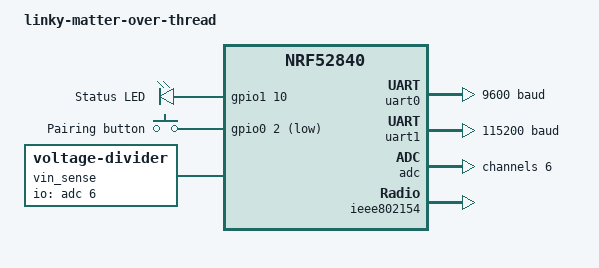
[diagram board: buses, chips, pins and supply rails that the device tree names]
/*
 * SPDX-License-Identifier: Apache-2.0
 *
 * linky-matter-over-thread v1: Ebyte E73-2G4M08S1C (nRF52840) powered by the Linky TIC.
 * Pin assignment matches hardware/linky-matter-over-thread.kicad_sch.
 */

/dts-v1/;
#include <nordic/nrf52840_qiaa.dtsi>
#include "linky_matter_over_thread_nrf52840-pinctrl.dtsi"
#include <zephyr/dt-bindings/input/input-event-codes.h>
#include <zephyr/dt-bindings/adc/adc.h>
#include <zephyr/dt-bindings/adc/nrf-saadc.h>

/ {
	model = "linky-matter-over-thread";
	compatible = "linky-matter-over-thread";

	chosen {
		zephyr,console = &uart1;
		zephyr,shell-uart = &uart1;
		zephyr,sram = &sram0;
		zephyr,flash = &flash0;
		zephyr,code-partition = &slot0_partition;
		zephyr,ieee802154 = &ieee802154;
	};

	leds {
		compatible = "gpio-leds";
		led0: led_0 {
			gpios = <&gpio1 10 GPIO_ACTIVE_HIGH>;
			label = "Status LED";
		};
	};

	buttons {
		compatible = "gpio-keys";
		button0: button_0 {
			gpios = <&gpio0 2 (GPIO_PULL_UP | GPIO_ACTIVE_LOW)>;
			label = "Pairing button";
			zephyr,code = <INPUT_KEY_0>;
		};
	};

	/* Input voltage after the bridge, through 1 M / 150 k (x 0.1304) on AIN6. */
	vin_sense: vin-sense {
		compatible = "voltage-divider";
		io-channels = <&adc 6>;
		output-ohms = <150000>;
		full-ohms = <1150000>;
	};

	aliases {
		led0 = &led0;
		sw0 = &button0;
		tic-uart = &uart0;
	};
};

&gpiote {
	status = "okay";
};

&gpio0 {
	status = "okay";
};

&gpio1 {
	status = "okay";
};

/*
 * No DC/DC: the E73 module does not appear to have the inductor the nRF52840
 * DC/DC regulator needs, so REG1 stays in LDO mode (the default).
 * VDDH is tied to VDD on the board (normal voltage mode).
 */

&uart0 {
	compatible = "nordic,nrf-uarte";
	status = "okay";
	current-speed = <9600>;
	pinctrl-0 = <&uart0_default>;
	pinctrl-1 = <&uart0_sleep>;
	pinctrl-names = "default", "sleep";
};

&uart1 {
	compatible = "nordic,nrf-uarte";
	status = "okay";
	current-speed = <115200>;
	pinctrl-0 = <&uart1_default>;
	pinctrl-1 = <&uart1_sleep>;
	pinctrl-names = "default", "sleep";
};

&adc {
	status = "okay";
	#address-cells = <1>;
	#size-cells = <0>;

	channel@6 {
		reg = <6>;
		zephyr,gain = "ADC_GAIN_1_6";
		zephyr,reference = "ADC_REF_INTERNAL";
		/* 130 kOhm source: 40 us acquisition is the nRF52840 setting for up to 800 kOhm. */
		zephyr,acquisition-time = <ADC_ACQ_TIME(ADC_ACQ_TIME_MICROSECONDS, 40)>;
		zephyr,input-positive = <NRF_SAADC_AIN6>;
		zephyr,resolution = <12>;
	};
};

&ieee802154 {
	status = "okay";
};

&flash0 {
	partitions {
		ranges;
		#address-cells = <1>;
		#size-cells = <1>;

		/* No bootloader and no external flash: updates go through SWD. */
		slot0_partition: partition@0 {
			compatible = "zephyr,mapped-partition";
			label = "image-0";
			reg = <0x00000000 DT_SIZE_K(988)>;
		};

		factory_data_partition: partition@f7000 {
			compatible = "zephyr,mapped-partition";
			label = "factory-data";
			reg = <0x000f7000 DT_SIZE_K(4)>;
		};

		storage_partition: partition@f8000 {
			compatible = "zephyr,mapped-partition";
			label = "storage";
			reg = <0x000f8000 DT_SIZE_K(32)>;
		};
	};
};
